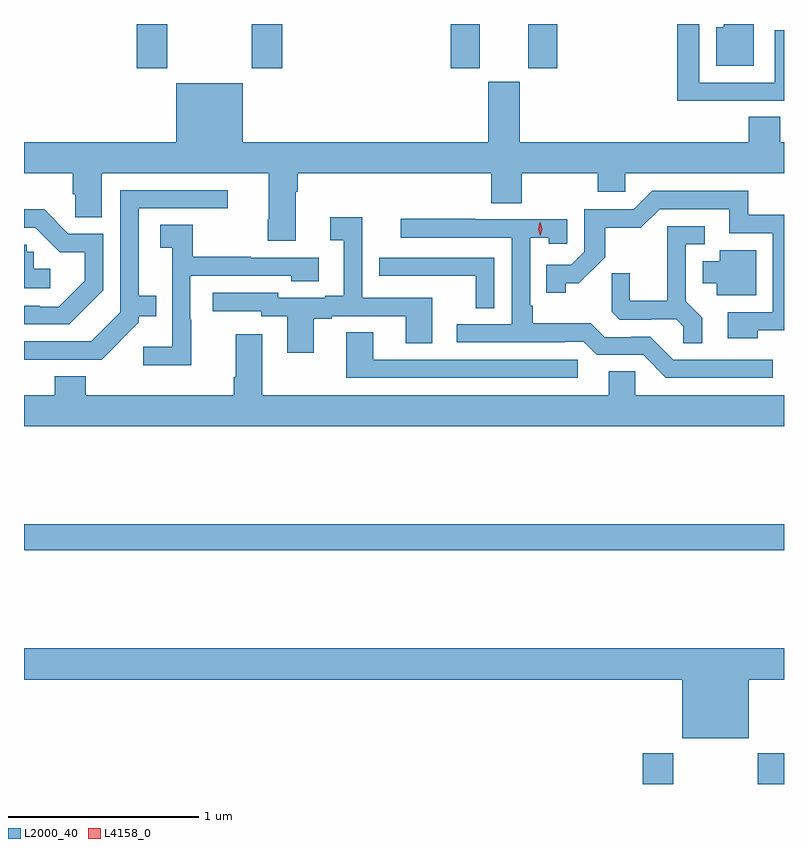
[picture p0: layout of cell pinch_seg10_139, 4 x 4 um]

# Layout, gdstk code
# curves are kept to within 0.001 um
import gdstk
lib = gdstk.Library(unit=1e-6, precision=1e-09)
def R(c, l, rs):  # rectangles x0, y0, x1, y1
    for r in rs: c.add(gdstk.rectangle(r[:2], r[2:], *l))
def P(c, l, *ps):  # polygons
    for p in ps: c.add(gdstk.Polygon(p, *l))
L2000_40 = (2000, 40)
L4158_0 = (4158, 0)

pinch_seg10_139 = lib.new_cell('pinch_seg10_139')
R(pinch_seg10_139, L2000_40, [(691.073,1277.122,691.233,1277.284), (691.678,1277.122,691.816,1277.284), (687.816,1278.352,691.816,1278.488), (688.409,1280.889,688.569,1281.122), (689.014,1280.889,689.174,1281.122), (690.062,1280.889,690.214,1281.122), (690.47,1280.889,690.623,1281.122)])
P(pinch_seg10_139, L2000_40, [(691.657,1281.122),(691.499,1281.122),(691.499,1281.106),(691.46,1281.106),(691.46,1280.903),(691.657,1280.903)],
  [(691.547,1280.718),(691.816,1280.718),(691.816,1281.088),(691.767,1281.088),(691.767,1280.814),(691.371,1280.814),(691.371,1281.122),(691.255,1281.122),(691.255,1280.717),(691.547,1280.717)],
  [(689.245,1280.24),(689.258,1280.24),(689.258,1280.336),(690.275,1280.336),(690.275,1280.179),(690.435,1280.179),(690.435,1280.336),(690.835,1280.336),(690.835,1280.238),(690.981,1280.238),(690.981,1280.336),(691.816,1280.336),(691.816,1280.5),(691.796,1280.5),(691.796,1280.633),(691.631,1280.633),(691.631,1280.5),(690.424,1280.5),(690.424,1280.817),(690.26,1280.817),(690.26,1280.5),(688.966,1280.5),(688.966,1280.809),(688.616,1280.809),(688.616,1280.5),(687.816,1280.5),(687.816,1280.336),(688.073,1280.336),(688.073,1280.226),(688.087,1280.226),(688.087,1280.104),(688.225,1280.104),(688.225,1280.336),(689.105,1280.336),(689.105,1280.092),(689.098,1280.092),(689.098,1279.98),(689.245,1279.98)],
  [(687.893,1279.356),(688.224,1279.356),(688.419,1279.551),(688.419,1279.583),(688.511,1279.583),(688.511,1279.693),(688.42,1279.693),(688.42,1280.151),(688.888,1280.151),(688.888,1280.247),(688.323,1280.247),(688.323,1279.605),(688.17,1279.452),(687.816,1279.452),(687.816,1279.355)],
  [(691.677,1279.509),(691.816,1279.509),(691.816,1280.118),(691.628,1280.118),(691.628,1280.244),(691.122,1280.244),(691.026,1280.148),(690.765,1280.148),(690.765,1279.923),(690.696,1279.854),(690.565,1279.854),(690.565,1279.707),(690.666,1279.707),(690.666,1279.757),(690.736,1279.757),(690.874,1279.894),(690.874,1280.05),(691.063,1280.05),(691.161,1280.148),(691.529,1280.148),(691.529,1280.022),(691.758,1280.022),(691.758,1279.605),(691.521,1279.605),(691.521,1279.469),(691.677,1279.469)],
  [(688.233,1279.721),(688.233,1280.019),(688.05,1280.019),(687.922,1280.147),(687.816,1280.147),(687.816,1280.049),(687.876,1280.049),(688.003,1279.922),(688.136,1279.922),(688.136,1279.772),(687.999,1279.635),(687.899,1279.635),(687.899,1279.638),(687.816,1279.638),(687.816,1279.542),(688.054,1279.542)],
  [(689.341,1279.572),(689.437,1279.572),(689.437,1279.584),(689.825,1279.584),(689.825,1279.441),(689.965,1279.441),(689.965,1279.68),(689.595,1279.68),(689.595,1280.104),(689.427,1280.104),(689.427,1279.984),(689.498,1279.984),(689.498,1279.693),(689.402,1279.693),(689.402,1279.68),(689.154,1279.68),(689.154,1279.707),(688.809,1279.707),(688.809,1279.611),(689.064,1279.611),(689.064,1279.584),(689.201,1279.584),(689.201,1279.392),(689.341,1279.392)],
  [(691.756,1279.356),(691.233,1279.356),(691.113,1279.476),(691.012,1279.476),(691.012,1279.473),(690.873,1279.473),(690.8,1279.546),(690.493,1279.546),(690.493,1279.639),(690.48,1279.639),(690.48,1279.997),(690.579,1279.997),(690.579,1279.965),(690.675,1279.965),(690.675,1280.094),(690.191,1280.094),(690.191,1280.097),(689.799,1280.097),(689.799,1279.998),(690.384,1279.998),(690.384,1279.542),(690.093,1279.542),(690.093,1279.446),(690.662,1279.446),(690.662,1279.449),(690.762,1279.449),(690.831,1279.38),(691.074,1279.38),(691.194,1279.26),(691.756,1279.26)],
  [(688.695,1279.565),(688.692,1279.565),(688.692,1279.797),(689.223,1279.797),(689.223,1279.769),(689.368,1279.769),(689.368,1279.893),(689.009,1279.893),(689.009,1279.896),(688.705,1279.896),(688.705,1280.066),(688.533,1280.066),(688.533,1279.945),(688.596,1279.945),(688.596,1279.423),(688.443,1279.423),(688.443,1279.325),(688.695,1279.325)],
  [(691.385,1279.577),(691.299,1279.663),(691.299,1279.962),(691.399,1279.962),(691.399,1280.058),(691.202,1280.058),(691.202,1279.666),(691.004,1279.666),(691.004,1279.809),(690.91,1279.809),(690.91,1279.607),(690.951,1279.566),(691.116,1279.566),(691.116,1279.569),(691.25,1279.569),(691.287,1279.532),(691.287,1279.441),(691.385,1279.441)],
  [(687.955,1279.834),(687.867,1279.834),(687.867,1279.923),(687.831,1279.923),(687.831,1279.959),(687.816,1279.959),(687.816,1279.731),(687.955,1279.731)],
  [(691.669,1279.93),(691.478,1279.93),(691.478,1279.873),(691.388,1279.873),(691.388,1279.757),(691.463,1279.757),(691.463,1279.694),(691.669,1279.694)],
  [(690.291,1279.893),(689.685,1279.893),(689.685,1279.798),(689.797,1279.798),(689.797,1279.797),(690.193,1279.797),(690.193,1279.627),(690.291,1279.627)],
  [(690.73,1279.356),(689.653,1279.356),(689.653,1279.499),(689.513,1279.499),(689.513,1279.26),(690.73,1279.26)],
  [(691.816,1279.168),(691.032,1279.168),(691.032,1279.295),(690.893,1279.295),(690.893,1279.168),(689.071,1279.168),(689.071,1279.489),(688.931,1279.489),(688.931,1279.264),(688.919,1279.264),(688.919,1279.168),(688.142,1279.168),(688.142,1279.267),(687.977,1279.267),(687.977,1279.168),(687.816,1279.168),(687.816,1279.004),(691.816,1279.004)],
  [(691.63,1277.672),(691.816,1277.672),(691.816,1277.836),(687.816,1277.836),(687.816,1277.672),(691.28,1277.672),(691.28,1277.363),(691.63,1277.363)])
P(pinch_seg10_139, L4158_0, [(690.534,1280.007),(690.534,1280.007),(690.523,1280.042),(690.531,1280.078),(690.532,1280.079),(690.532,1280.078),(690.543,1280.043),(690.534,1280.007)])

lib.write_gds('pinch_seg10_139.gds')
